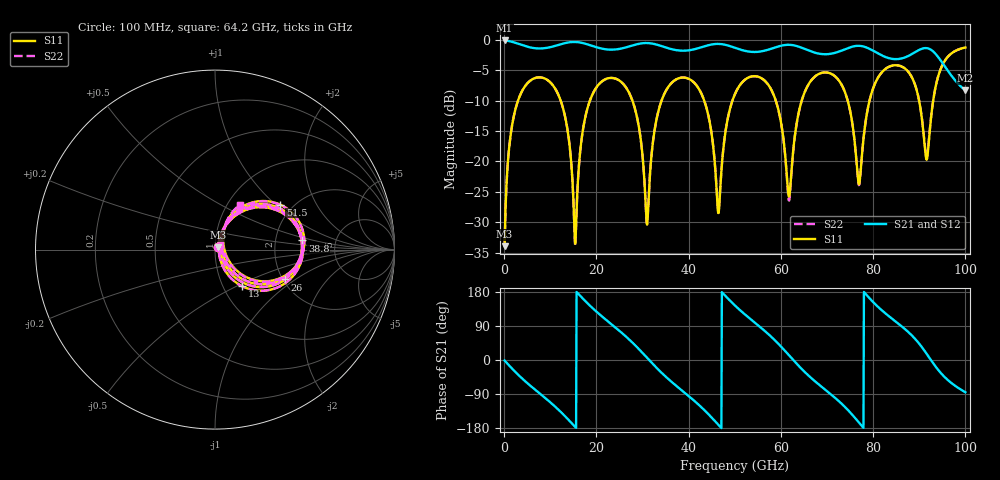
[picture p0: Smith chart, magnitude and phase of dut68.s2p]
! Touchstone file exported from HFSS 2026.1.0
!  File:  C:/ffzhzh/LocalFiles/Ansys_Project_Files/temp_train_TSV_RDL_68_1783448404_34316.aedt
!  Generated:  02:33:09 AM Jul  8, 2026
!  Design:  TSV_RDL
!  Project:  temp_train_TSV_RDL_68_1783448404_34316
! Variables:
!  h_bsmrdl = 3.39um
!  h_ox = 20um
!  h_rdl = 5um
!  h_sub = 99.01um
!  h_tmrdl = 4.41um
!  h_tsv = 99.01um
!  h_via = 3um
!  l_bsmrdl = 373.09um
!  l_sub = 3674.27um
!  l_tmrdl = 506.74um
!  m_sub = 200um
!  pitch = 46.85um
!  r_tsv = 7.03um
!  s_tmrdl = 10um
!  w_bsmrdl = 20.85um
!  w_sub = 500um
!  w_tmrdl = 21.83um
!  x_tsv_center1 = 517.655um
!  x_tsv_center2 = 911.595um
!  x_tsv_center3 = 1440.165um
!  x_tsv_center4 = 1834.105um
!  x_tsv_center5 = 2362.675um
!  x_tsv_center6 = 2756.615um
# GHz S MA R 50.000000
! Terminal data exported
! Port[1] = TM_RDL1_1_T1
! Port[2] = TM_RDL5_1_T1
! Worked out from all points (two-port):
!   1000 points, 100 MHz to 100 GHz, reference 50 ohm
!   highest |S21| = -0.14 dB at 100 MHz (marker M1); lowest = -8.3 dB at 100 GHz (marker M2)
!   |S21| within 3 dB of the highest: start of sweep to 83.96 GHz; 85.87 GHz to 94.37 GHz (8.5 GHz wide, 9.43 % of centre)
!   lowest |S11| = -33.9 dB at 100 MHz (marker M3), VSWR 1.04, Z = 51.6 + j1.31 ohm
!   |S11| at or under -10 dB: 12.25 GHz to 18.6 GHz (6.352 GHz wide, 41.2 % of centre); 27.8 GHz to 34.14 GHz (6.334 GHz wide, 20.5 % of centre); 43.37 GHz to 49.5 GHz (6.128 GHz wide, 13.2 % of centre) (the widest 3 of 7)
!   |S22| runs from -33.9 to -1.3 dB; largest |S21 - S12| = 6.4e-13
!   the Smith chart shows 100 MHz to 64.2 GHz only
!   S11 on the Smith chart (normalised r, x): 100 MHz: 1.03, +0.03; 13 GHz: 1.23, -0.53; 26 GHz: 2.06, -0.84; 38.8 GHz: 2.85, +0.38; 51.5 GHz: 1.72, +1.07; 64.2 GHz: 1.15, +0.62
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0.1  0.02017 39.0  0.9845 -1.4  0.9845 -1.4  0.02017 39.0
! Gamma 0 0 0 0
! Port Impedance 50 0 50 0
3.9  0.3794 37.7  0.9016 -48.8  0.9016 -48.8  0.3794 37.7
13  0.2528 -53.6  0.9322 -145.8  0.9322 -145.8  0.2528 -53.7
15.4  0.02112 1.2  0.9567 -176.5  0.9567 -176.5  0.02041 1.0
16.8  0.1539 66.2  0.9418 165.4  0.9418 165.4  0.1538 66.5
26  0.4251 -23.1  0.8556 66.3  0.8556 66.3  0.4251 -22.9
30.9  0.03105 -8.7  0.9376 7.0  0.9376 7.0  0.03163 -8.5
33.4  0.2552 58.0  0.9026 -24.9  0.9026 -24.9  0.2552 58.0
38.8  0.4886 6.0  0.8112 -83.1  0.8112 -83.1  0.4885 6.1
43.7  0.2893 -40.8  0.8874 -135.8  0.8874 -135.8  0.2895 -40.5
46.4  0.03781 -0.6  0.9224 -170.4  0.9224 -170.4  0.04005 -0.1
50.1  0.3618 48.1  0.8555 143.1  0.8555 143.1  0.3619 47.7
51.5  0.4417 34.5  0.8222 127.6  0.8222 127.6  0.4417 34.2
58.2  0.3692 -27.6  0.8489 57.9  0.8489 57.9  0.3688 -28.0
61.7  0.05172 4.4  0.9072 13.2  0.9072 13.2  0.04803 3.7
64.2  0.2861 60.3  0.8664 -19.9  0.8664 -19.9  0.2854 61.0
66.7  0.4692 37.1  0.7961 -48.9  0.7961 -48.9  0.4688 37.5
73.3  0.4165 -22.4  0.8168 -116.9  0.8168 -116.9  0.4163 -22.3
77  0.06576 21.7  0.8896 -166.0  0.8896 -166.0  0.0647 22.0
83.4  0.5982 23.3  0.7048 115.7  0.7048 115.7  0.598 23.6
92  0.135 46.7  0.8451 9.3  0.8451 9.3  0.1393 45.4
100  0.8617 1.9  0.3826 -85.1  0.3826 -85.1  0.8616 1.8
